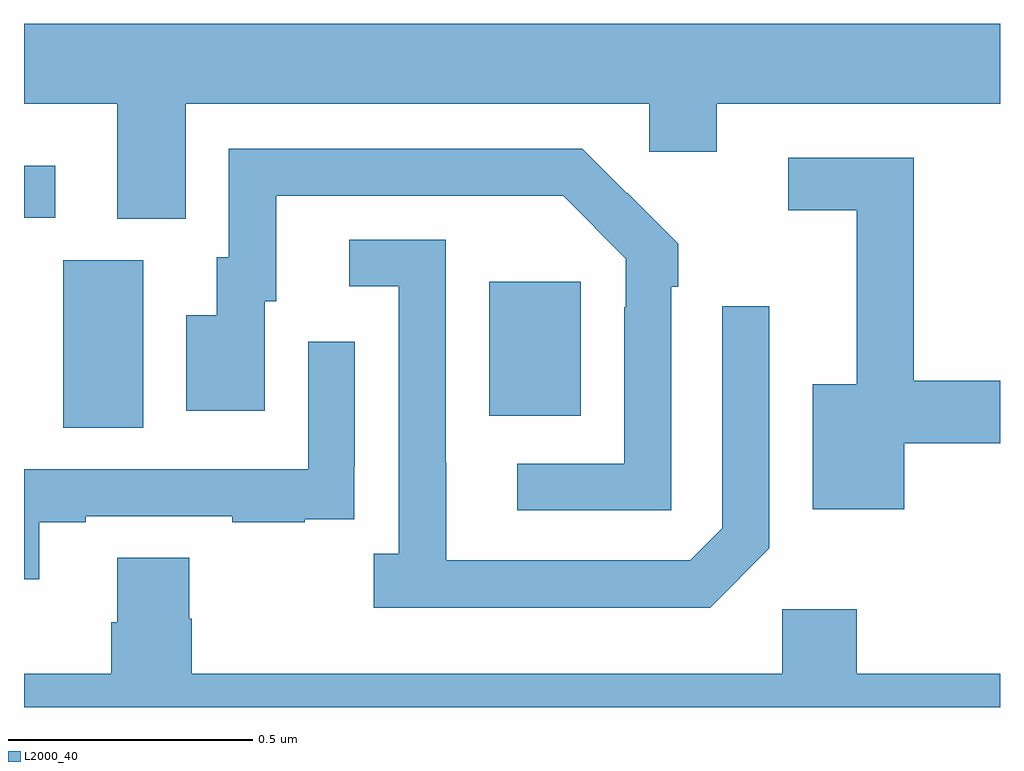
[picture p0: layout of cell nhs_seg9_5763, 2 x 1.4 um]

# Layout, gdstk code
import gdstk
lib = gdstk.Library(unit=1e-6, precision=1e-09)
def R(c, l, rs):  # rectangles x0, y0, x1, y1
    for r in rs: c.add(gdstk.rectangle(r[:2], r[2:], *l))
def P(c, l, *ps):  # polygons
    for p in ps: c.add(gdstk.Polygon(p, *l))
L2000_40 = (2000, 40)

nhs_seg9_5763 = lib.new_cell('nhs_seg9_5763')
R(nhs_seg9_5763, L2000_40, [(183.08,1213.072,183.244,1213.416), (183.953,1213.097,184.141,1213.372), (183,1213.503,183.064,1213.609)])
P(nhs_seg9_5763, L2000_40, [(183.331,1213.736),(184.281,1213.736),(184.281,1213.638),(184.42,1213.638),(184.42,1213.736),(185,1213.736),(185,1213.9),(183,1213.9),(183,1213.736),(183.191,1213.736),(183.191,1213.501),(183.331,1213.501)],
  [(184.326,1213.361),(184.341,1213.361),(184.341,1213.449),(184.236,1213.554),(184.235,1213.553),(184.144,1213.644),(183.42,1213.644),(183.42,1213.422),(183.395,1213.422),(183.395,1213.303),(183.332,1213.303),(183.332,1213.107),(183.493,1213.107),(183.493,1213.332),(183.517,1213.332),(183.517,1213.548),(184.105,1213.548),(184.233,1213.419),(184.233,1213.319),(184.23,1213.319),(184.23,1212.999),(184.011,1212.999),(184.011,1212.903),(184.326,1212.903)],
  [(184.804,1213.041),(185,1213.041),(185,1213.169),(184.823,1213.169),(184.823,1213.626),(184.566,1213.626),(184.566,1213.518),(184.706,1213.518),(184.706,1213.162),(184.616,1213.162),(184.616,1212.905),(184.804,1212.905)],
  [(184.527,1212.825),(184.527,1213.321),(184.431,1213.321),(184.431,1212.867),(184.365,1212.801),(183.865,1212.801),(183.865,1213.001),(183.864,1213.001),(183.864,1213.458),(183.666,1213.458),(183.666,1213.362),(183.768,1213.362),(183.768,1212.814),(183.717,1212.814),(183.717,1212.704),(184.406,1212.704)],
  [(183.031,1212.879),(183.127,1212.879),(183.127,1212.891),(183.427,1212.891),(183.427,1212.879),(183.575,1212.879),(183.575,1212.885),(183.677,1212.885),(183.677,1212.994),(183.678,1212.994),(183.678,1213.249),(183.582,1213.249),(183.582,1212.987),(183,1212.987),(183,1212.762),(183.031,1212.762)],
  [(185,1212.568),(184.706,1212.568),(184.706,1212.7),(184.554,1212.7),(184.554,1212.568),(183.344,1212.568),(183.344,1212.681),(183.339,1212.681),(183.339,1212.806),(183.191,1212.806),(183.191,1212.674),(183.179,1212.674),(183.179,1212.568),(183,1212.568),(183,1212.5),(185,1212.5)])

lib.write_gds('nhs_seg9_5763.gds')
